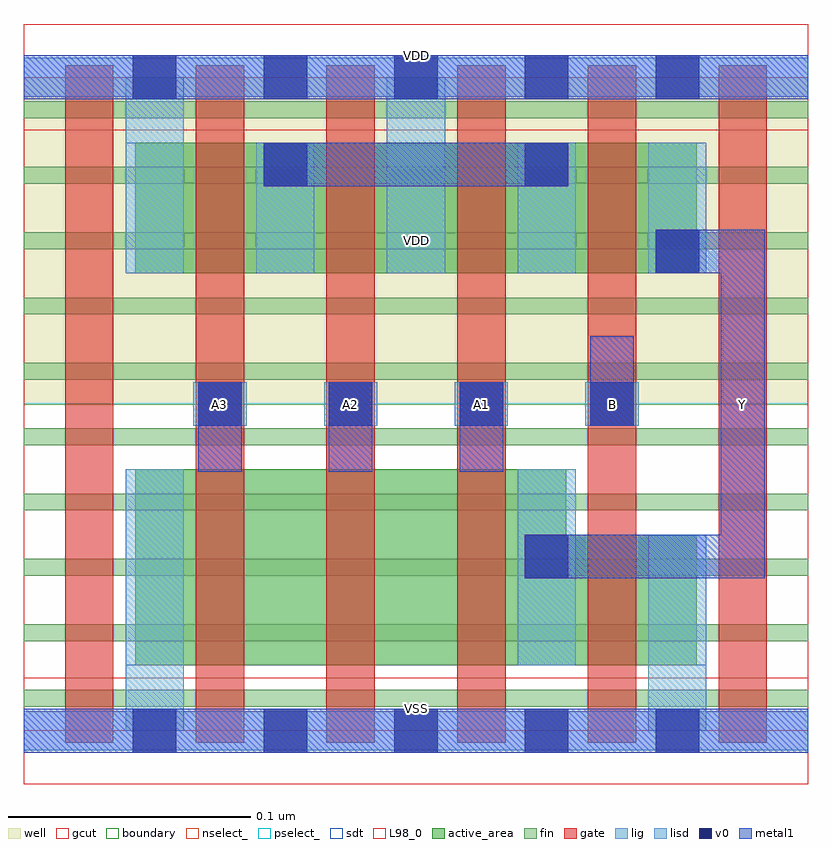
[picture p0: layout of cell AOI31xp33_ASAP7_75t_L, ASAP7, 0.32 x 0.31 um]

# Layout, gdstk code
import gdstk
lib = gdstk.Library(unit=1e-6, precision=2.5e-10)
def R(c, l, rs):  # rectangles x0, y0, x1, y1
    for r in rs: c.add(gdstk.rectangle(r[:2], r[2:], *l))
def A(c, l, x, y, w, h, nx, ny, dx, dy):  # array of equal rectangles
    R(c, l, [(x+i*dx, y+j*dy, x+i*dx+w, y+j*dy+h) for i in range(nx) for j in range(ny)])
def P(c, l, *ps):  # polygons
    for p in ps: c.add(gdstk.Polygon(p, *l))
well = (1, 0)
fin = (2, 0)
gate = (7, 0)
gcut = (10, 0)
active_area = (11, 0)
nselect_ = (12, 0)
pselect_ = (13, 0)
lig = (16, 0)
lisd = (17, 0)
v0 = (18, 0)
metal1 = (19, 0)
sdt = (88, 0)
L98_0 = (98, 0)
boundary = (100, 0)

aoi31xp33_asap7_75t_l = lib.new_cell('AOI31xp33_ASAP7_75t_L')
R(aoi31xp33_asap7_75t_l, well, [(0,0.135,0.324,0.27)])
A(aoi31xp33_asap7_75t_l, fin, 0, 0.01, 0.324, 0.007, 1, 10, 0, 0.027)
A(aoi31xp33_asap7_75t_l, gate, 0.017, -0.005, 0.02, 0.28, 6, 1, 0.054, 0)
R(aoi31xp33_asap7_75t_l, gcut, [(0,-0.022,0.324,0.022), (0,0.248,0.324,0.292)])
R(aoi31xp33_asap7_75t_l, active_area, [(0.046,0.189,0.278,0.243)])
P(aoi31xp33_asap7_75t_l, active_area, [(0.278,0.081),(0.224,0.081),(0.224,0.108),(0.046,0.108),(0.046,0.027),(0.278,0.027)])
R(aoi31xp33_asap7_75t_l, nselect_, [(0,0,0.324,0.135)])
R(aoi31xp33_asap7_75t_l, pselect_, [(0,0.135,0.324,0.27)])
A(aoi31xp33_asap7_75t_l, lig, 0.07, 0.126, 0.022, 0.018, 4, 1, 0.054, 0)
R(aoi31xp33_asap7_75t_l, lig, [(0,-0.008,0.324,0.008), (0,0.262,0.324,0.278)])
R(aoi31xp33_asap7_75t_l, lisd, [(0.042,0,0.066,0.108), (0.042,0,0.066,0.108), (0.258,0,0.282,0.081), (0.258,0,0.282,0.081), (0.204,0.027,0.228,0.108), (0.042,0.189,0.066,0.27), (0.042,0.189,0.066,0.27), (0.096,0.189,0.12,0.243), (0.15,0.189,0.174,0.27), (0.15,0.189,0.174,0.27), (0.204,0.189,0.228,0.243), (0.258,0.189,0.282,0.243)])
A(aoi31xp33_asap7_75t_l, v0, 0.045, -0.009, 0.018, 0.018, 5, 2, 0.054, 0.27)
A(aoi31xp33_asap7_75t_l, v0, 0.072, 0.126, 0.018, 0.018, 4, 1, 0.054, 0)
R(aoi31xp33_asap7_75t_l, v0, [(0.207,0.063,0.225,0.081), (0.261,0.189,0.279,0.207), (0.099,0.225,0.117,0.243), (0.207,0.225,0.225,0.243)])
A(aoi31xp33_asap7_75t_l, metal1, 0.072, 0.107, 0.018, 0.037, 3, 1, 0.054, 0)
A(aoi31xp33_asap7_75t_l, metal1, 0.072, 0.126, 0.018, 0.018, 4, 1, 0.054, 0)
R(aoi31xp33_asap7_75t_l, metal1, [(0,-0.009,0.324,0.009), (0.207,0.063,0.225,0.081), (0.234,0.126,0.252,0.163), (0.261,0.189,0.279,0.207), (0.099,0.225,0.117,0.243), (0.099,0.225,0.225,0.243), (0.207,0.225,0.225,0.243), (0,0.261,0.324,0.279)])
P(aoi31xp33_asap7_75t_l, metal1, [(0.261,0.207),(0.261,0.189),(0.288,0.189),(0.288,0.081),(0.207,0.081),(0.207,0.063),(0.306,0.063),(0.306,0.207)])
A(aoi31xp33_asap7_75t_l, sdt, 0.042, 0.189, 0.024, 0.054, 3, 1, 0.054, 0)
A(aoi31xp33_asap7_75t_l, sdt, 0.15, 0.189, 0.024, 0.054, 3, 1, 0.054, 0)
R(aoi31xp33_asap7_75t_l, sdt, [(0.042,0.027,0.066,0.108), (0.042,0.027,0.066,0.108), (0.204,0.027,0.228,0.108), (0.258,0.027,0.282,0.081), (0.258,0.027,0.282,0.081), (0.042,0.189,0.066,0.243)])
R(aoi31xp33_asap7_75t_l, L98_0, [(0,0,0.324,0.27)])
R(aoi31xp33_asap7_75t_l, boundary, [(0,0,0.324,0.27)])
aoi31xp33_asap7_75t_l.add(gdstk.Label('VDD', (0.162,0.2025), layer=1, texttype=251))
aoi31xp33_asap7_75t_l.add(gdstk.Label('VSS', (0.162,-0.0675), layer=3, texttype=251))
aoi31xp33_asap7_75t_l.add(gdstk.Label('VSS', (0.162,0.009), layer=19, texttype=251))
aoi31xp33_asap7_75t_l.add(gdstk.Label('VDD', (0.162,0.279), layer=19, texttype=251))
aoi31xp33_asap7_75t_l.add(gdstk.Label('A3', (0.081,0.135), layer=19, texttype=251))
aoi31xp33_asap7_75t_l.add(gdstk.Label('A2', (0.135,0.135), layer=19, texttype=251))
aoi31xp33_asap7_75t_l.add(gdstk.Label('A1', (0.189,0.135), layer=19, texttype=251))
aoi31xp33_asap7_75t_l.add(gdstk.Label('Y', (0.297,0.135), layer=19, texttype=251))
aoi31xp33_asap7_75t_l.add(gdstk.Label('B', (0.243,0.135), layer=19, texttype=251))

lib.write_gds('AOI31xp33_ASAP7_75t_L.gds')
